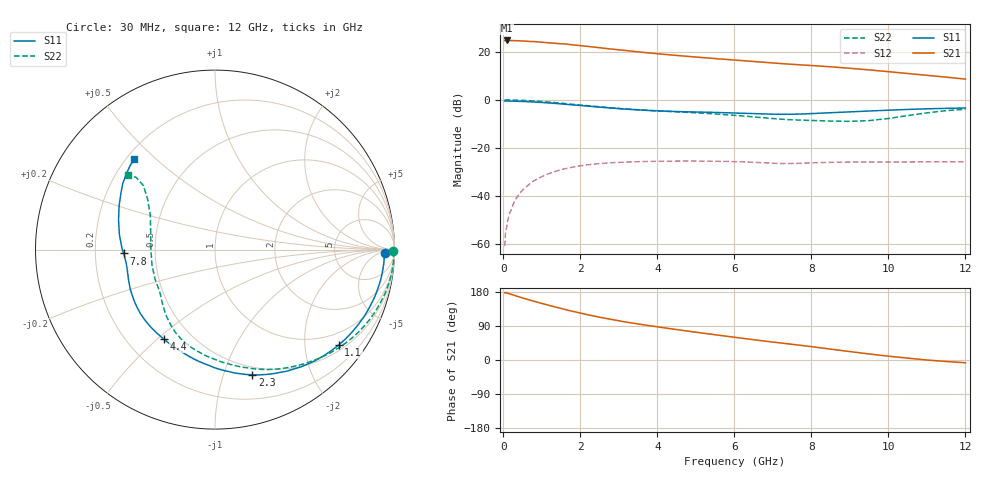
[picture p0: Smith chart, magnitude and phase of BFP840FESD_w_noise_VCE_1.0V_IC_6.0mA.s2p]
! Infineon Technologies  Discrete & RF Semiconductors
! BFP840FESD
! VCE =  1.0 V,  IC =  6.0 mA
! Common Emitter S-Parameters:  May 2012
# GHz  S  MA  R  50
!  f  S11  S21  S12  S22
! GHz  MAG  ANG  MAG  ANG  MAG  ANG  MAG  ANG
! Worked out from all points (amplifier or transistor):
!   103 points, 30 MHz to 12 GHz, reference 50 ohm
!   highest |S21| = 24.7 dB at 90 MHz (marker M1)
!   |S21| within 3 dB of that: start of sweep to 2.483 GHz
!   unconditionally stable (mu >= 1): 6.879 GHz to end of sweep
!   at 400 MHz: K = 0.04, MSG = 32.0 dB, |S12| = -39.4 dB
!   at 3.7 GHz: K = 0.40, MSG = 22.7 dB, |S12| = -25.7 dB
!   at 12 GHz: K = 1.28, MAG = 14.0 dB, |S12| = -25.8 dB
!   lowest NFmin = 0.57 dB at 450 MHz
!   S11 on the Smith chart (normalised r, x): 30 MHz: 32, -10; 1.1 GHz: 0.64, -2.81; 2.3 GHz: 0.42, -1.25; 4.4 GHz: 0.35, -0.53; 7.8 GHz: 0.32, -0.02; 12 GHz: 0.23, +0.43
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0.03  0.945 -1.0  17.09 177.3  0.0009 94.6  0.9931 -0.6
0.04  0.9448 -1.3  17.11 177.1  0.0011 91.9  0.9945 -0.9
0.05  0.9435 -1.8  17.21 178.2  0.0016 69.4  0.9957 -1.2
0.09  0.9437 -3.2  17.24 176.9  0.0023 82.4  0.9966 -2.5
0.4  0.9318 -14.2  16.97 166.8  0.0107 81.0  0.9836 -12.2
0.6  0.9181 -21.0  16.58 160.6  0.0157 75.9  0.9672 -18.1
0.8  0.9004 -27.8  16.33 154.8  0.0207 70.8  0.947 -24.0
1.1  0.8702 -37.6  15.58 146.5  0.0275 64.1  0.9098 -32.6
1.6  0.8103 -53.7  14.61 133.3  0.0369 53.2  0.8377 -46.4
2.1  0.7506 -68.0  13.2 121.5  0.0436 43.6  0.7665 -59.4
2.3  0.7276 -73.4  12.68 117.1  0.0454 40.3  0.7401 -64.2
2.7  0.6844 -83.4  11.66 109.0  0.0484 34.4  0.693 -72.9
3.1  0.6466 -92.8  10.82 101.6  0.0503 29.6  0.6536 -80.7
3.6  0.6126 -103.4  9.794 93.5  0.0519 24.7  0.614 -89.5
4.1  0.5869 -113.6  8.97 86.0  0.0528 20.7  0.5842 -97.2
4.4  0.5747 -119.6  8.536 81.7  0.053 18.7  0.568 -101.5
5.3  0.5519 -136.0  7.447 69.3  0.053 13.2  0.5203 -113.5
6.1  0.529 -149.6  6.655 58.7  0.0515 9.5  0.4695 -123.9
7.8  0.5098 -177.6  5.306 37.7  0.0481 12.2  0.3772 -149.5
8.5  0.5397 170.9  4.874 28.7  0.0501 12.1  0.362 -165.6
10.5  0.6322 144.4  3.541 4.9  0.051 11.8  0.4707 143.0
12  0.6756 131.6  2.706 -7.3  0.0511 14.3  0.6365 139.5
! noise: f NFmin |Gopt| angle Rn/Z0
0.45  0.57  0.47  5  0.16
0.9  0.61  0.46  12  0.17
1.5  0.62  0.41  18  0.16
1.9  0.63  0.37  27  0.16
2.4  0.65  0.36  33  0.17
3.5  0.67  0.34  55  0.16
5.5  0.75  0.23  93  0.12
8  0.9  0.2  151  0.11
10  1.05  0.25  -148  0.11
12  1.27  0.42  -123  0.13
